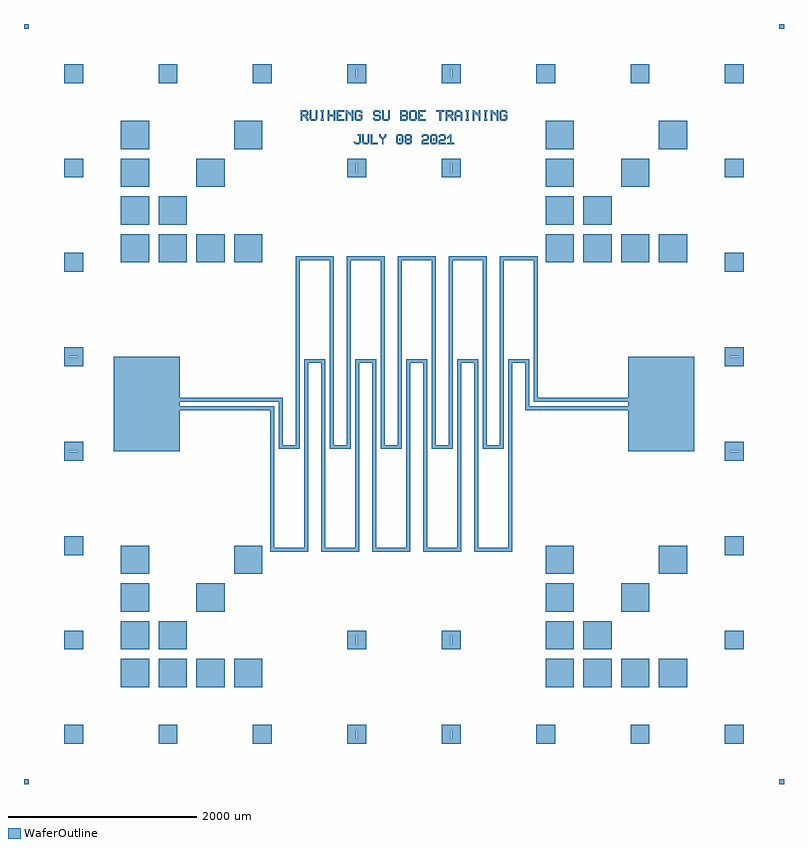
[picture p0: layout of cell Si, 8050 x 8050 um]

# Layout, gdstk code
import gdstk
lib = gdstk.Library(unit=1e-6, precision=1e-09)
def R(c, l, rs):  # rectangles x0, y0, x1, y1
    for r in rs: c.add(gdstk.rectangle(r[:2], r[2:], *l))
def P(c, l, *ps):  # polygons
    for p in ps: c.add(gdstk.Polygon(p, *l))
WaferOutline = (1, 0)

c_50umsquare = lib.new_cell('50umSquare')
R(c_50umsquare, WaferOutline, [(-25,-25,25,25)])

simple_squares = lib.new_cell('Simple$Squares')
R(simple_squares, WaferOutline, [(-150,-150,150,150)])

test_patterns = lib.new_cell('Test$Patterns')
test_patterns.add(gdstk.Reference(simple_squares, (-600,-600)))
test_patterns.add(gdstk.Reference(simple_squares, (-600,-200)))
test_patterns.add(gdstk.Reference(simple_squares, (-600,200)))
test_patterns.add(gdstk.Reference(simple_squares, (-600,600)))
test_patterns.add(gdstk.Reference(simple_squares, (-200,-600)))
test_patterns.add(gdstk.Reference(simple_squares, (-200,-200)))
test_patterns.add(gdstk.Reference(simple_squares, (200,-600)))
test_patterns.add(gdstk.Reference(simple_squares, (200,200)))
test_patterns.add(gdstk.Reference(simple_squares, (600,-600)))
test_patterns.add(gdstk.Reference(simple_squares, (600,600)))

single_filter_al_deposit = lib.new_cell('Single$Filter$Al$Deposition$1')
P(single_filter_al_deposit, WaferOutline, [(-65,-1065),(-65,435),(-1025,435),(-1025,0),(-1725,0),(-1725,1000),(-1025,1000),(-1025,565),(65,565),(65,65),(205,65),(205,2065),(605,2065),(605,65),(745,65),(745,2065),(1145,2065),(1145,65),(1285,65),(1285,2065),(1685,2065),(1685,65),(1825,65),(1825,2065),(2225,2065),(2225,65),(2365,65),(2365,2025),(2405,2025),(2405,25),(2185,25),(2185,2025),(1865,2025),(1865,25),(1645,25),(1645,2025),(1325,2025),(1325,25),(1105,25),(1105,2025),(785,2025),(785,25),(565,25),(565,2025),(245,2025),(245,25),(25,25),(25,525),(-1025,525),(-1025,475),(-25,475),(-25,-1025),(295,-1025),(295,975),(515,975),(515,-1025),(835,-1025),(835,975),(1055,975),(1055,-1025),(1375,-1025),(1375,975),(1595,975),(1595,-1025),(1915,-1025),(1915,975),(2135,975),(2135,-1025),(2455,-1025),(2455,975),(2675,975),(2675,475),(3725,475),(3725,525),(2725,525),(2725,2025),(2365,2025),(2365,2065),(2765,2065),(2765,565),(3725,565),(3725,1000),(4425,1000),(4425,0),(3725,0),(3725,435),(2635,435),(2635,935),(2495,935),(2495,-1065),(2095,-1065),(2095,935),(1955,935),(1955,-1065),(1555,-1065),(1555,935),(1415,935),(1415,-1065),(1015,-1065),(1015,935),(875,935),(875,-1065),(475,-1065),(475,935),(335,935),(335,-1065)])

alignment_mark_large = lib.new_cell('Alignment$Mark$Large')
P(alignment_mark_large, WaferOutline, [(-100,-100),(-100,50),(-4,50),(-4,4),(-50,4),(-50,-4),(-4,-4),(-4,-50),(4,-50),(4,-4),(50,-4),(50,4),(4,4),(4,50),(-100,50),(-100,100),(100,100),(100,-100)])

text_1 = lib.new_cell('TEXT$1')
P(text_1, WaferOutline, [(0,0),(0,112),(64,112),(80,96),(16,96),(16,64),(56,64),(64,72),(64,88),(56,96),(80,96),(80,64),(64,48),(64,40),(80,24),(80,0),(64,0),(64,16),(32,48),(16,48),(16,0)],
  [(112,0),(96,16),(96,112),(112,112),(112,24),(120,16),(152,16),(160,24),(160,112),(176,112),(176,16),(160,0)],
  [(216,0),(216,16),(224,16),(224,96),(216,96),(216,112),(248,112),(248,96),(240,96),(240,16),(248,16),(248,0)],
  [(288,0),(288,112),(304,112),(304,64),(352,64),(352,112),(368,112),(368,0),(352,0),(352,48),(304,48),(304,0)],
  [(384,0),(384,112),(464,112),(464,96),(400,96),(400,64),(432,64),(432,48),(400,48),(400,16),(464,16),(464,0)],
  [(480,0),(480,112),(496,112),(536,72),(544,72),(544,112),(560,112),(560,0),(544,0),(544,40),(504,80),(496,80),(496,0)],
  [(592,0),(576,16),(576,96),(592,112),(640,112),(656,96),(656,80),(640,80),(640,88),(632,96),(600,96),(592,88),(592,24),(600,16),(632,16),(640,24),(640,48),(616,48),(616,64),(656,64),(656,16),(640,0)],
  [(784,0),(768,16),(768,32),(784,32),(784,24),(792,16),(824,16),(832,24),(832,40),(824,48),(784,48),(768,64),(768,96),(784,112),(832,112),(848,96),(848,80),(832,80),(832,88),(824,96),(792,96),(784,88),(784,72),(792,64),(832,64),(848,48),(848,16),(832,0)],
  [(880,0),(864,16),(864,112),(880,112),(880,24),(888,16),(920,16),(928,24),(928,112),(944,112),(944,16),(928,0)],
  [(1056,0),(1056,112),(1120,112),(1136,96),(1072,96),(1072,64),(1112,64),(1120,72),(1120,88),(1112,96),(1136,96),(1136,64),(1128,56),(1136,48),(1072,48),(1072,16),(1112,16),(1120,24),(1120,40),(1112,48),(1136,48),(1136,16),(1120,0)],
  [(1168,0),(1152,16),(1152,96),(1168,112),(1216,112),(1232,96),(1232,56),(1216,56),(1216,88),(1208,96),(1176,96),(1168,88),(1168,24),(1176,16),(1208,16),(1216,24),(1216,56),(1232,56),(1232,16),(1216,0)],
  [(1248,0),(1248,112),(1328,112),(1328,96),(1264,96),(1264,64),(1296,64),(1296,48),(1264,48),(1264,16),(1328,16),(1328,0)],
  [(1472,0),(1472,96),(1440,96),(1440,112),(1520,112),(1520,96),(1488,96),(1488,0)],
  [(1536,0),(1536,112),(1600,112),(1616,96),(1552,96),(1552,64),(1592,64),(1600,72),(1600,88),(1592,96),(1616,96),(1616,64),(1600,48),(1600,40),(1616,24),(1616,0),(1600,0),(1600,16),(1568,48),(1552,48),(1552,0)],
  [(1632,0),(1632,88),(1656,112),(1688,112),(1704,96),(1664,96),(1648,80),(1648,56),(1696,56),(1696,80),(1680,96),(1704,96),(1712,88),(1712,0),(1696,0),(1696,40),(1648,40),(1648,0)],
  [(1752,0),(1752,16),(1760,16),(1760,96),(1752,96),(1752,112),(1784,112),(1784,96),(1776,96),(1776,16),(1784,16),(1784,0)],
  [(1824,0),(1824,112),(1840,112),(1880,72),(1888,72),(1888,112),(1904,112),(1904,0),(1888,0),(1888,40),(1848,80),(1840,80),(1840,0)],
  [(1944,0),(1944,16),(1952,16),(1952,96),(1944,96),(1944,112),(1976,112),(1976,96),(1968,96),(1968,16),(1976,16),(1976,0)],
  [(2016,0),(2016,112),(2032,112),(2072,72),(2080,72),(2080,112),(2096,112),(2096,0),(2080,0),(2080,40),(2040,80),(2032,80),(2032,0)],
  [(2128,0),(2112,16),(2112,96),(2128,112),(2176,112),(2192,96),(2192,80),(2176,80),(2176,88),(2168,96),(2136,96),(2128,88),(2128,24),(2136,16),(2168,16),(2176,24),(2176,48),(2152,48),(2152,64),(2192,64),(2192,16),(2176,0)])

text = lib.new_cell('TEXT')
R(text, WaferOutline, [(480,37.5,495,67.5), (840,37.5,855,67.5)])
P(text, WaferOutline, [(15,0),(0,15),(0,30),(15,30),(15,22.5),(22.5,15),(52.5,15),(60,22.5),(60,90),(45,90),(45,105),(75,105),(75,15),(60,0)],
  [(105,0),(90,15),(90,105),(105,105),(105,22.5),(112.5,15),(142.5,15),(150,22.5),(150,105),(165,105),(165,15),(150,0)],
  [(180,0),(180,105),(195,105),(195,15),(255,15),(255,0)],
  [(300,0),(300,52.5),(270,82.5),(270,105),(285,105),(285,90),(307.5,67.5),(330,90),(330,105),(345,105),(345,82.5),(315,52.5),(315,0)],
  [(465,0),(450,15),(450,90),(465,105),(510,105),(525,90),(472.5,90),(465,82.5),(465,22.5),(472.5,15),(502.5,15),(510,22.5),(510,82.5),(502.5,90),(525,90),(525,15),(510,0)],
  [(555,0),(540,15),(540,45),(547.5,52.5),(540,60),(540,90),(555,105),(600,105),(615,90),(562.5,90),(555,82.5),(555,67.5),(562.5,60),(592.5,60),(600,67.5),(600,82.5),(592.5,90),(615,90),(615,60),(607.5,52.5),(615,45),(562.5,45),(555,37.5),(555,22.5),(562.5,15),(592.5,15),(600,22.5),(600,37.5),(592.5,45),(615,45),(615,15),(600,0)],
  [(720,0),(720,37.5),(735,52.5),(772.5,52.5),(780,60),(780,82.5),(772.5,90),(742.5,90),(735,82.5),(735,75),(720,75),(720,90),(735,105),(780,105),(795,90),(795,52.5),(780,37.5),(742.5,37.5),(735,30),(735,15),(795,15),(795,0)],
  [(825,0),(810,15),(810,90),(825,105),(870,105),(885,90),(832.5,90),(825,82.5),(825,22.5),(832.5,15),(862.5,15),(870,22.5),(870,82.5),(862.5,90),(885,90),(885,15),(870,0)],
  [(900,0),(900,37.5),(915,52.5),(952.5,52.5),(960,60),(960,82.5),(952.5,90),(922.5,90),(915,82.5),(915,75),(900,75),(900,90),(915,105),(960,105),(975,90),(975,52.5),(960,37.5),(922.5,37.5),(915,30),(915,15),(975,15),(975,0)],
  [(990,0),(990,15),(1020,15),(1020,75),(1012.5,75),(997.5,60),(990,60),(990,75),(1020,105),(1035,105),(1035,15),(1065,15),(1065,0)])

c_si = lib.new_cell('Si')
r = gdstk.Reference(c_50umsquare, (-4000,-4000)); r.repetition = gdstk.Repetition(2, 2, v1=(8000,0), v2=(0,8000)); c_si.add(r)
r = gdstk.Reference(test_patterns, (-2250,-2250)); r.repetition = gdstk.Repetition(2, 2, v1=(4500,0), v2=(0,4500)); c_si.add(r)
c_si.add(gdstk.Reference(single_filter_al_deposit, (-1350,-500)))
c_si.add(gdstk.Reference(alignment_mark_large, (-3500,-3500)))
c_si.add(gdstk.Reference(alignment_mark_large, (-2500,-3500)))
c_si.add(gdstk.Reference(alignment_mark_large, (-1500,-3500)))
c_si.add(gdstk.Reference(alignment_mark_large, (-500,-3500)))
c_si.add(gdstk.Reference(alignment_mark_large, (500,-3500)))
c_si.add(gdstk.Reference(alignment_mark_large, (1500,-3500)))
c_si.add(gdstk.Reference(alignment_mark_large, (2500,-3500)))
c_si.add(gdstk.Reference(alignment_mark_large, (3500,-3500)))
c_si.add(gdstk.Reference(alignment_mark_large, (-3500,-2500)))
c_si.add(gdstk.Reference(text_1, (-1096,3000)))
c_si.add(gdstk.Reference(text, (-532.5,2750)))
c_si.add(gdstk.Reference(alignment_mark_large, (-500,-2500)))
c_si.add(gdstk.Reference(alignment_mark_large, (500,-2500)))
c_si.add(gdstk.Reference(alignment_mark_large, (3500,-2500)))
c_si.add(gdstk.Reference(alignment_mark_large, (-3500,-1500)))
c_si.add(gdstk.Reference(alignment_mark_large, (3500,-1500)))
c_si.add(gdstk.Reference(alignment_mark_large, (-3500,-500)))
c_si.add(gdstk.Reference(alignment_mark_large, (3500,-500)))
c_si.add(gdstk.Reference(alignment_mark_large, (-3500,500)))
c_si.add(gdstk.Reference(alignment_mark_large, (3500,500)))
c_si.add(gdstk.Reference(alignment_mark_large, (-3500,1500)))
c_si.add(gdstk.Reference(alignment_mark_large, (3500,1500)))
c_si.add(gdstk.Reference(alignment_mark_large, (-3500,2500)))
c_si.add(gdstk.Reference(alignment_mark_large, (-500,2500)))
c_si.add(gdstk.Reference(alignment_mark_large, (500,2500)))
c_si.add(gdstk.Reference(alignment_mark_large, (3500,2500)))
c_si.add(gdstk.Reference(alignment_mark_large, (-3500,3500)))
c_si.add(gdstk.Reference(alignment_mark_large, (-2500,3500)))
c_si.add(gdstk.Reference(alignment_mark_large, (-1500,3500)))
c_si.add(gdstk.Reference(alignment_mark_large, (-500,3500)))
c_si.add(gdstk.Reference(alignment_mark_large, (500,3500)))
c_si.add(gdstk.Reference(alignment_mark_large, (1500,3500)))
c_si.add(gdstk.Reference(alignment_mark_large, (2500,3500)))
c_si.add(gdstk.Reference(alignment_mark_large, (3500,3500)))

lib.write_gds('Si.gds')
